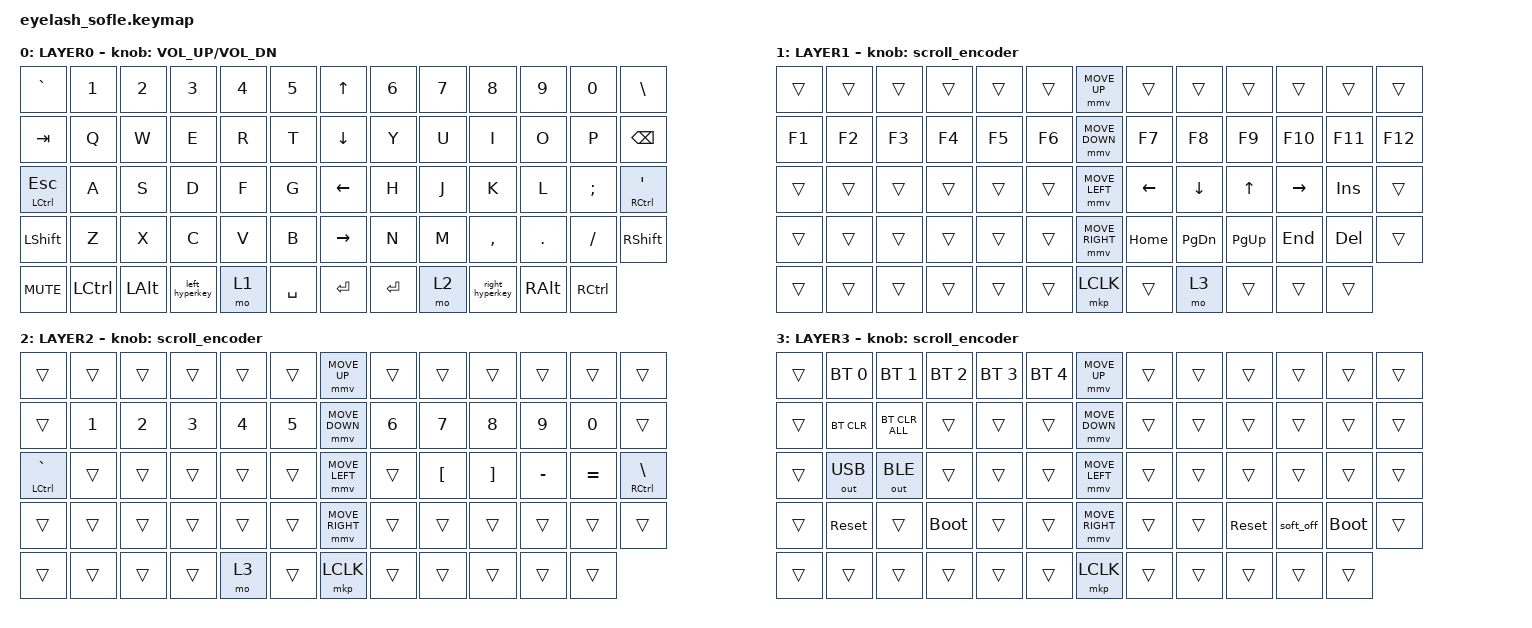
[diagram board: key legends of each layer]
#define ZMK_POINTING_DEFAULT_MOVE_VAL 1200  // 600
#define ZMK_POINTING_DEFAULT_SCRL_VAL 25   // 10

#include <input/processors.dtsi>
#include <zephyr/dt-bindings/input/input-event-codes.h>
#include <behaviors.dtsi>
#include <dt-bindings/zmk/bt.h>
#include <dt-bindings/zmk/keys.h>
#include <dt-bindings/zmk/outputs.h>
#include <dt-bindings/zmk/pointing.h>

&mmv_input_listener { input-processors = <&zip_xy_scaler 2 1>; };

&msc_input_listener { input-processors = <&zip_scroll_scaler 2 1>; };

&msc {
    acceleration-exponent = <1>;      // 0
    time-to-max-speed-ms = <100>;       // 300
    delay-ms = <0>;                   // 0
};

&mmv {
    time-to-max-speed-ms = <500>;
    acceleration-exponent = <1>;
    trigger-period-ms = <16>;
};

&soft_off { hold-time-ms = <2000>; };

/ {
    scroll_encoder: scroll_encoder {
        compatible = "zmk,behavior-sensor-rotate";
        #sensor-binding-cells = <0>;
        bindings = <&msc SCRL_DOWN>, <&msc SCRL_UP>;

        tap-ms = <100>;
    };

    left_hyperkey: left_hyperkey {
        compatible = "zmk,behavior-mod-morph";
        label = "LEFT_HYPERKEY";
        bindings = <&mt LEFT_GUI CAPSLOCK>, <&kp LS(LA(LC(LGUI)))>;

        #binding-cells = <0>;
        mods = <(MOD_RGUI)>;
    };

    right_hyperkey: right_hyperkey {
        compatible = "zmk,behavior-mod-morph";
        label = "RIGHT_HYPERKEY";
        bindings = <&kp RGUI>, <&kp RS(RA(RC(RGUI)))>;

        #binding-cells = <0>;
        mods = <(MOD_LGUI)>;
    };

    behaviors {
    };

    combos { compatible = "zmk,combos"; };

    keymap {
        compatible = "zmk,keymap";

        layer0 {
            bindings = <
&kp GRAVE         &kp N1     &kp N2        &kp N3          &kp N4  &kp N5       &kp UP_ARROW     &kp N6     &kp N7  &kp N8           &kp N9         &kp N0     &kp BACKSLASH
&kp TAB           &kp Q      &kp W         &kp E           &kp R   &kp T        &kp DOWN_ARROW   &kp Y      &kp U   &kp I            &kp O          &kp P      &kp BACKSPACE
&mt LCTRL ESCAPE  &kp A      &kp S         &kp D           &kp F   &kp G        &kp LEFT_ARROW   &kp H      &kp J   &kp K            &kp L          &kp SEMI   &mt RCTRL SQT
&kp LSHFT         &kp Z      &kp X         &kp C           &kp V   &kp B        &kp RIGHT_ARROW  &kp N      &kp M   &kp COMMA        &kp DOT        &kp FSLH   &kp RIGHT_SHIFT
&kp C_MUTE        &kp LCTRL  &kp LEFT_ALT  &left_hyperkey  &mo 1   &kp SPACE    &kp ENTER        &kp ENTER  &mo 2   &right_hyperkey  &kp RIGHT_ALT  &kp RCTRL
            >;

            sensor-bindings = <&inc_dec_kp C_VOLUME_UP C_VOL_DN>;
            display-name = "LAYER0";
        };

        layer_1 {
            bindings = <
&trans  &trans  &trans  &trans  &trans  &trans    &mmv MOVE_UP     &trans    &trans     &trans     &trans     &trans   &trans
&kp F1  &kp F2  &kp F3  &kp F4  &kp F5  &kp F6    &mmv MOVE_DOWN   &kp F7    &kp F8     &kp F9     &kp F10    &kp F11  &kp F12
&trans  &trans  &trans  &trans  &trans  &trans    &mmv MOVE_LEFT   &kp LEFT  &kp DOWN   &kp UP     &kp RIGHT  &kp INS  &trans
&trans  &trans  &trans  &trans  &trans  &trans    &mmv MOVE_RIGHT  &kp HOME  &kp PG_DN  &kp PG_UP  &kp END    &kp DEL  &trans
&trans  &trans  &trans  &trans  &trans  &trans    &mkp LCLK        &trans    &mo 3      &trans     &trans     &trans
            >;

            display-name = "LAYER1";
            sensor-bindings = <&scroll_encoder>;
        };

        layer_2 {
            bindings = <
&trans           &trans  &trans  &trans  &trans  &trans    &mmv MOVE_UP     &trans  &trans            &trans             &trans     &trans     &trans
&trans           &kp N1  &kp N2  &kp N3  &kp N4  &kp N5    &mmv MOVE_DOWN   &kp N6  &kp N7            &kp N8             &kp N9     &kp N0     &trans
&mt LCTRL GRAVE  &trans  &trans  &trans  &trans  &trans    &mmv MOVE_LEFT   &trans  &kp LEFT_BRACKET  &kp RIGHT_BRACKET  &kp MINUS  &kp EQUAL  &mt RCTRL BACKSLASH
&trans           &trans  &trans  &trans  &trans  &trans    &mmv MOVE_RIGHT  &trans  &trans            &trans             &trans     &trans     &trans
&trans           &trans  &trans  &trans  &mo 3   &trans    &mkp LCLK        &trans  &trans            &trans             &trans     &trans
            >;

            display-name = "LAYER2";
            sensor-bindings = <&scroll_encoder>;
        };

        layer_3 {
            bindings = <
&trans  &bt BT_SEL 0  &bt BT_SEL 1    &bt BT_SEL 2  &bt BT_SEL 3  &bt BT_SEL 4    &mmv MOVE_UP     &trans  &trans  &trans      &trans     &trans       &trans
&trans  &bt BT_CLR    &bt BT_CLR_ALL  &trans        &trans        &trans          &mmv MOVE_DOWN   &trans  &trans  &trans      &trans     &trans       &trans
&trans  &out OUT_USB  &out OUT_BLE    &trans        &trans        &trans          &mmv MOVE_LEFT   &trans  &trans  &trans      &trans     &trans       &trans
&trans  &sys_reset    &trans          &bootloader   &trans        &trans          &mmv MOVE_RIGHT  &trans  &trans  &sys_reset  &soft_off  &bootloader  &trans
&trans  &trans        &trans          &trans        &trans        &trans          &mkp LCLK        &trans  &trans  &trans      &trans     &trans
            >;

            display-name = "LAYER3";
            sensor-bindings = <&scroll_encoder>;
        };
    };
};
